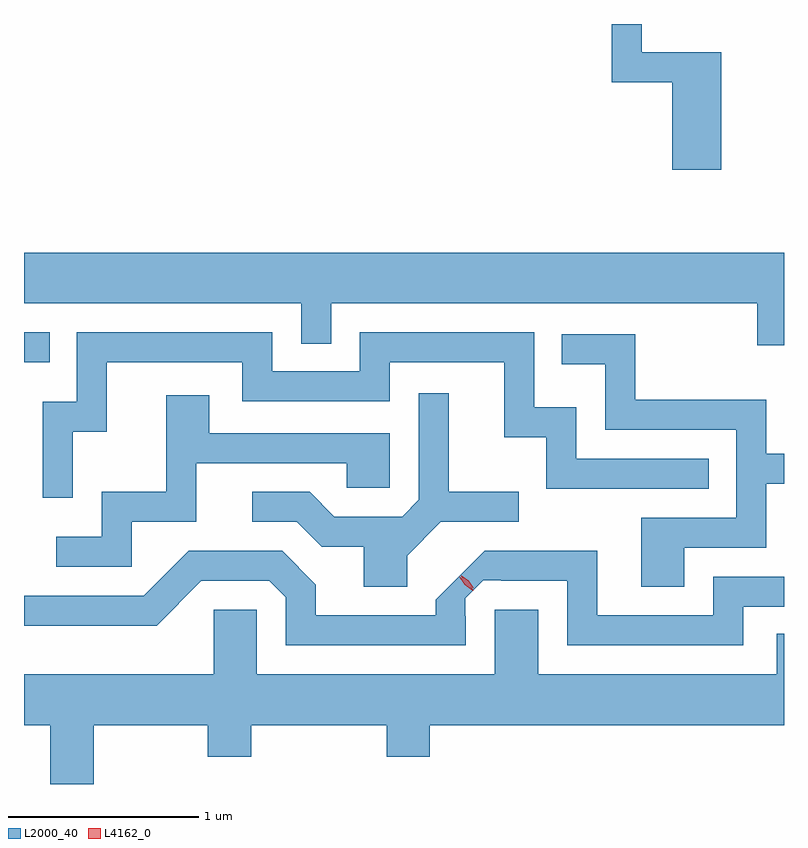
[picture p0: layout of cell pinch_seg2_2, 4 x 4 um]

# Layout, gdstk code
import gdstk
lib = gdstk.Library(unit=1e-6, precision=1e-09)
def R(c, l, rs):  # rectangles x0, y0, x1, y1
    for r in rs: c.add(gdstk.rectangle(r[:2], r[2:], *l))
def P(c, l, *ps):  # polygons
    for p in ps: c.add(gdstk.Polygon(p, *l))
L2000_40 = (2000, 40)
L4162_0 = (4162, 0)

pinch_seg2_2 = lib.new_cell('pinch_seg2_2')
R(pinch_seg2_2, L2000_40, [(1886.473,1072.426,1886.608,1072.584)])
P(pinch_seg2_2, L2000_40, [(1890.144,1074.059),(1889.724,1074.059),(1889.724,1074.207),(1889.566,1074.207),(1889.566,1073.901),(1889.886,1073.901),(1889.886,1073.441),(1890.144,1073.441)],
  [(1890.473,1073.004),(1886.473,1073.004),(1886.473,1072.736),(1887.931,1072.736),(1887.931,1072.523),(1888.089,1072.523),(1888.089,1072.736),(1890.331,1072.736),(1890.331,1072.516),(1890.473,1072.516)],
  [(1886.729,1072.061),(1886.909,1072.061),(1886.909,1072.426),(1887.621,1072.426),(1887.621,1072.221),(1888.399,1072.221),(1888.399,1072.426),(1889.001,1072.426),(1889.001,1072.031),(1889.221,1072.031),(1889.221,1071.761),(1890.078,1071.761),(1890.078,1071.919),(1889.379,1071.919),(1889.379,1072.189),(1889.159,1072.189),(1889.159,1072.584),(1888.241,1072.584),(1888.241,1072.379),(1887.779,1072.379),(1887.779,1072.584),(1886.751,1072.584),(1886.751,1072.219),(1886.571,1072.219),(1886.571,1071.713),(1886.729,1071.713)],
  [(1889.949,1071.451),(1890.379,1071.451),(1890.379,1071.786),(1890.473,1071.786),(1890.473,1071.944),(1890.379,1071.944),(1890.379,1072.229),(1889.689,1072.229),(1889.689,1072.574),(1889.303,1072.574),(1889.303,1072.416),(1889.531,1072.416),(1889.531,1072.071),(1890.221,1072.071),(1890.221,1071.609),(1889.721,1071.609),(1889.721,1071.246),(1889.949,1071.246)],
  [(1888.489,1071.409),(1888.667,1071.586),(1889.078,1071.586),(1889.078,1071.744),(1888.709,1071.744),(1888.709,1072.263),(1888.551,1072.263),(1888.551,1071.702),(1888.464,1071.614),(1888.107,1071.614),(1887.977,1071.744),(1887.673,1071.744),(1887.673,1071.586),(1887.909,1071.586),(1888.039,1071.456),(1888.261,1071.456),(1888.261,1071.246),(1888.489,1071.246)],
  [(1887.039,1071.586),(1887.379,1071.586),(1887.379,1071.896),(1888.171,1071.896),(1888.171,1071.766),(1888.399,1071.766),(1888.399,1072.054),(1887.449,1072.054),(1887.449,1072.254),(1887.221,1072.254),(1887.221,1071.744),(1886.881,1071.744),(1886.881,1071.509),(1886.643,1071.509),(1886.643,1071.351),(1887.039,1071.351)],
  [(1888.799,1071.09),(1888.795,1071.09),(1888.795,1071.185),(1888.891,1071.28),(1888.985,1071.28),(1888.985,1071.276),(1889.331,1071.276),(1889.331,1070.936),(1890.259,1070.936),(1890.259,1071.141),(1890.473,1071.141),(1890.473,1071.299),(1890.101,1071.299),(1890.101,1071.094),(1889.489,1071.094),(1889.489,1071.434),(1888.898,1071.434),(1888.641,1071.178),(1888.641,1071.094),(1888.009,1071.094),(1888.009,1071.257),(1887.832,1071.434),(1887.339,1071.434),(1887.104,1071.199),(1886.473,1071.199),(1886.473,1071.041),(1887.172,1071.041),(1887.407,1071.276),(1887.764,1071.276),(1887.851,1071.189),(1887.851,1070.936),(1888.799,1070.936)],
  [(1886.839,1070.516),(1887.441,1070.516),(1887.441,1070.351),(1887.669,1070.351),(1887.669,1070.516),(1888.381,1070.516),(1888.381,1070.351),(1888.609,1070.351),(1888.609,1070.516),(1890.473,1070.516),(1890.473,1070.998),(1890.436,1070.998),(1890.436,1070.784),(1889.179,1070.784),(1889.179,1071.124),(1888.951,1071.124),(1888.951,1070.784),(1887.699,1070.784),(1887.699,1071.124),(1887.471,1071.124),(1887.471,1070.784),(1886.473,1070.784),(1886.473,1070.516),(1886.611,1070.516),(1886.611,1070.207),(1886.839,1070.207)])
P(pinch_seg2_2, L4162_0, [(1888.836,1071.225),(1888.793,1071.255),(1888.764,1071.298),(1888.764,1071.298),(1888.765,1071.298),(1888.808,1071.269),(1888.837,1071.226),(1888.837,1071.225)],
  [(1888.84,1071.236),(1888.801,1071.262),(1888.775,1071.301),(1888.775,1071.302),(1888.776,1071.302),(1888.815,1071.276),(1888.84,1071.237),(1888.84,1071.236)])

lib.write_gds('pinch_seg2_2.gds')
